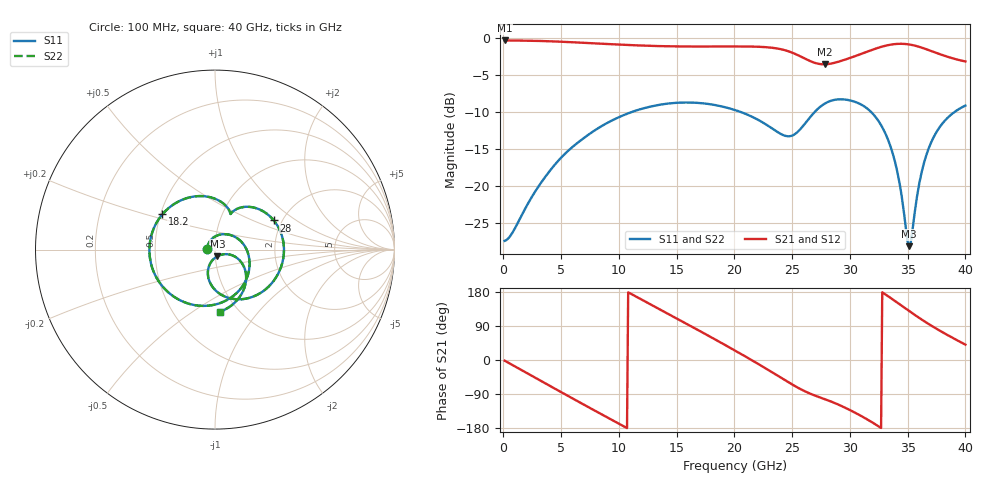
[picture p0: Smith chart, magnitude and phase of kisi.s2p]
! P_ts6_finger_far: gold finger 0.7 × 2.1 mm between GND fingers (gap 0.3 mm), L2 cut back (next plane L5)
! stackup: ThunderScope Rev5.3 6-layer (FR408HR / FR-4, from the board file)
! ports: 1, 2
! kisi-fdtd, conformal, dfine 0.035 mm, 1225112 cells
# Hz S RI R 50
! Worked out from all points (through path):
!   400 points, 100 MHz to 40 GHz, reference 50 ohm
!   highest |S21| = -0.38 dB at 100 MHz (marker M1); lowest = -3.6 dB at 27.8 GHz (marker M2)
!   group delay of S21, straight-line fit = 46.6 ps
!   lowest |S11| = -28.1 dB at 35.1 GHz (marker M3), VSWR 1.08, Z = 51.2 - j3.8 ohm
!   |S11| at or under -10 dB: start of sweep to 11.14 GHz; 20.52 GHz to 26.96 GHz (6.441 GHz wide, 27.1 % of centre); 31.83 GHz to 39.07 GHz (7.247 GHz wide, 20.4 % of centre)
!   |S22| runs from -28.1 to -8.3 dB; largest |S21 - S12| = 0
!   S11 on the Smith chart (normalised r, x): 100 MHz: 0.92, +0.01; 18.2 GHz: 0.51, +0.23; 28 GHz: 1.81, +0.68; 40 GHz: 0.82, -0.65
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1e8  -0.0426 0.00421  0.9567 -0.0285  0.9567 -0.0285  -0.0426 0.00421
1.8e9  -0.0074 0.0682  0.8211 -0.4862  0.8211 -0.4862  -0.0074 0.0682
3.7e9  0.0851 0.0813  0.4312 -0.843  0.4312 -0.843  0.0851 0.0813
5.2e9  0.1586 0.0299  0.0282 -0.9367  0.0282 -0.9367  0.1586 0.0299
6.8e9  0.1926 -0.0739  -0.3925 -0.8361  -0.3925 -0.8361  0.1926 -0.0739
1.01e10  0.0495 -0.2894  -0.883 -0.1577  -0.883 -0.1577  0.0495 -0.2894
1.17e10  -0.099 -0.3115  -0.851 0.2465  -0.851 0.2465  -0.099 -0.3115
1.34e10  -0.2528 -0.2444  -0.6308 0.6097  -0.6308 0.6097  -0.2528 -0.2444
1.58e10  -0.3643 -0.0303  -0.0984 0.8661  -0.0984 0.8661  -0.3643 -0.0303
1.82e10  -0.2932 0.1964  0.4817 0.7265  0.4817 0.7265  -0.2932 0.1964
2.01e10  -0.145 0.2902  0.7964 0.3555  0.7964 0.3555  -0.145 0.2902
2.21e10  0.0125 0.2779  0.8515 -0.168  0.8515 -0.168  0.0125 0.2779
2.41e10  0.0842 0.2063  0.5573 -0.6193  0.5573 -0.6193  0.0842 0.2063
2.67e10  0.1824 0.2385  -0.00715 -0.6877  -0.00715 -0.6877  0.1824 0.2385
2.78e10  0.308 0.1836  -0.1495 -0.6439  -0.1495 -0.6439  0.308 0.1836
2.8e10  0.3277 0.1624  -0.1748 -0.6388  -0.1748 -0.6388  0.3277 0.1624
3.09e10  0.276 -0.2259  -0.6441 -0.427  -0.6441 -0.427  0.276 -0.2259
3.34e10  -0.0221 -0.1948  -0.868 0.2103  -0.868 0.2103  -0.0221 -0.1948
3.42e10  -0.0378 -0.1086  -0.7817 0.4627  -0.7817 0.4627  -0.0378 -0.1086
3.51e10  0.0135 -0.037  -0.5783 0.69  -0.5783 0.69  0.0135 -0.037
3.69e10  0.1604 -0.0941  -0.0489 0.8186  -0.0489 0.8186  0.1604 -0.0941
4e10  0.0262 -0.3474  0.5255 0.4488  0.5255 0.4488  0.0262 -0.3474
